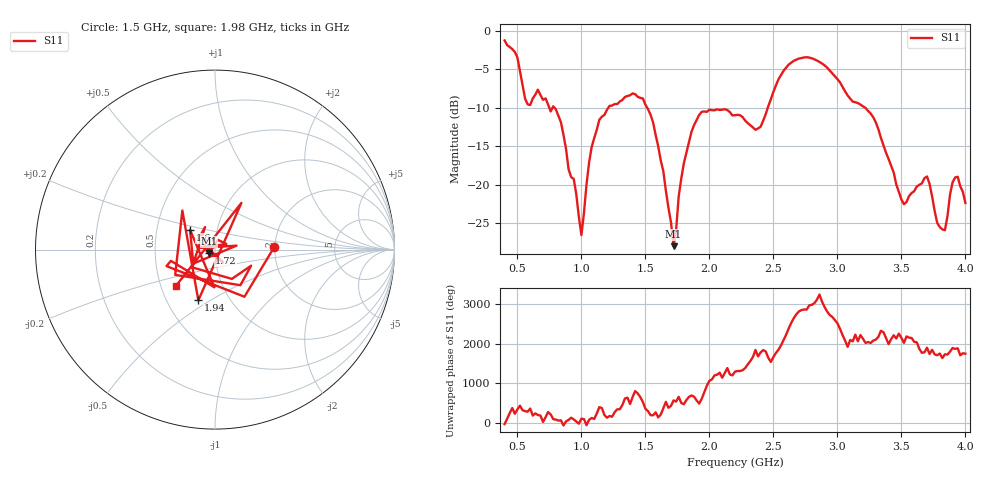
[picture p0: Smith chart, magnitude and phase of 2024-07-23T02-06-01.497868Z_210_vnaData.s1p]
!Created with skrf (http://scikit-rf.org).
# Hz S RI R 50.0
!freq ReS11 ImS11
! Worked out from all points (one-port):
!   181 points, 400 MHz to 4 GHz, reference 50 ohm
!   lowest |S11| = -28.0 dB at 1.72 GHz (marker M1), VSWR 1.08, Z = 46.7 - j1.96 ohm
!   |S11| at or under -10 dB: 789.6 MHz to 1.21 GHz (420.8 MHz wide, 42.1 % of centre); 1.514 GHz to 2.456 GHz (942.4 MHz wide, 47.5 % of centre); 3.217 GHz to end of sweep (the widest 3 of 4)
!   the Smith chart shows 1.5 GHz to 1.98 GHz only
!   S11 on the Smith chart (normalised r, x): 1.5 GHz: 1.99, +0.07; 1.6 GHz: 0.74, +0.17; 1.72 GHz: 0.93, -0.04; 1.94 GHz: 0.72, -0.44; 1.98 GHz: 0.60, -0.27
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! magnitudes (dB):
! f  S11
! 400 MHz  -1.3
! 500 MHz  -3.5
! 580 MHz  -9.6
! 660 MHz  -7.7
! 860 MHz  -13.5
! 1 GHz  -26.6
! 1.06 GHz  -17.1
! 1.14 GHz  -11.6
! 1.3 GHz  -9.2
! 1.5 GHz  -9.6
! 1.6 GHz  -15.0
! 1.72 GHz  -28.0
! 1.76 GHz  -21.5
! 1.86 GHz  -13.1
! 1.94 GHz  -10.5
! 1.98 GHz  -10.5
! 2.2 GHz  -11.0
! 2.4 GHz  -12.5
! 2.66 GHz  -3.9
! 2.88 GHz  -4.3
! 3.1 GHz  -8.8
! 3.28 GHz  -11.2
! 3.5 GHz  -21.9
! 3.56 GHz  -21.5
! 3.7 GHz  -18.9
! 3.84 GHz  -25.9
! 3.92 GHz  -19.1
! 4 GHz  -22.4
